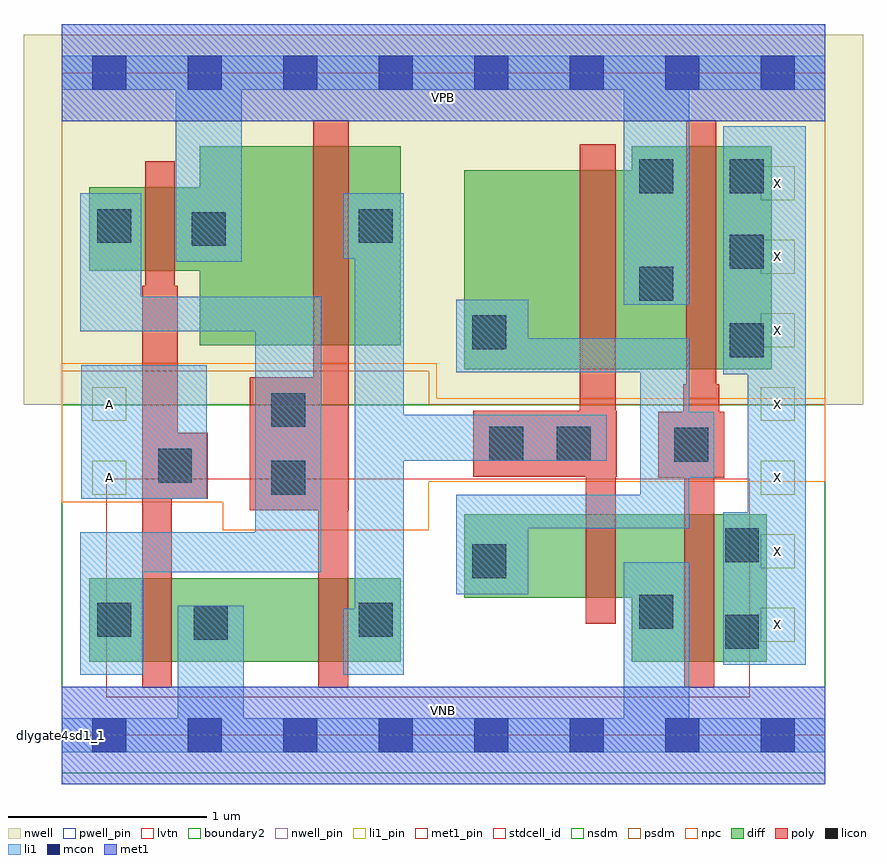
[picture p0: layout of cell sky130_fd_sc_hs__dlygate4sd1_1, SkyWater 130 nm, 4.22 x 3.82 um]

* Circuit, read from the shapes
.subckt sky130_fd_sc_hs__dlygate4sd1_1 A VGND VNB VPB VPWR X
XM1 VGND A n1 VNB sky130_fd_pr__nfet_01v8_lvt w=0.42 l=0.15
XM2 n2 n1 VGND VNB sky130_fd_pr__nfet_01v8_lvt w=0.42 l=0.15
XM3 VGND n2 n3 VNB sky130_fd_pr__nfet_01v8_lvt w=0.42 l=0.15
XM4 X n3 VGND VNB sky130_fd_pr__nfet_01v8_lvt w=0.74 l=0.15
XM5 VPWR A n1 VPB sky130_fd_pr__pfet_01v8 w=0.42 l=0.15
XM6 n2 n1 VPWR VPB sky130_fd_pr__pfet_01v8 w=1 l=0.18
XM7 VPWR n2 n3 VPB sky130_fd_pr__pfet_01v8 w=1 l=0.18
XM8 X n3 VPWR VPB sky130_fd_pr__pfet_01v8 w=1.12 l=0.15
.ends

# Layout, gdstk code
import gdstk
lib = gdstk.Library(unit=1e-6, precision=1e-09)
def R(c, l, rs):  # rectangles x0, y0, x1, y1
    for r in rs: c.add(gdstk.rectangle(r[:2], r[2:], *l))
def A(c, l, x, y, w, h, nx, ny, dx, dy):  # array of equal rectangles
    R(c, l, [(x+i*dx, y+j*dy, x+i*dx+w, y+j*dy+h) for i in range(nx) for j in range(ny)])
def P(c, l, *ps):  # polygons
    for p in ps: c.add(gdstk.Polygon(p, *l))
nwell_pin = (64, 16)
nwell = (64, 20)
diff = (65, 20)
poly = (66, 20)
licon = (66, 44)
li1_pin = (67, 16)
li1 = (67, 20)
mcon = (67, 44)
met1_pin = (68, 16)
met1 = (68, 20)
stdcell_id = (81, 4)
nsdm = (93, 44)
psdm = (94, 20)
npc = (95, 20)
pwell_pin = (122, 16)
lvtn = (125, 44)
boundary2 = (236, 0)

sky130_fd_sc_hs__dlygate = lib.new_cell('sky130_fd_sc_hs__dlygate4sd1_1')
R(sky130_fd_sc_hs__dlygate, nwell_pin, [(0,3.085,3.84,3.33)])
R(sky130_fd_sc_hs__dlygate, nwell, [(-0.19,1.66,4.03,3.52)])
R(sky130_fd_sc_hs__dlygate, diff, [(0.14,0.37,1.705,0.79)])
P(sky130_fd_sc_hs__dlygate, diff, [(1.705,2.96),(0.695,2.96),(0.695,2.755),(0.14,2.755),(0.14,2.335),(0.695,2.335),(0.695,1.96),(1.705,1.96)],
  [(3.57,2.96),(2.865,2.96),(2.865,2.84),(2.025,2.84),(2.025,1.84),(3.57,1.84)],
  [(3.545,1.11),(2.025,1.11),(2.025,0.69),(2.865,0.69),(2.865,0.37),(3.545,0.37)])
P(sky130_fd_sc_hs__dlygate, poly, [(0.735,1.52),(0.585,1.52),(0.585,2.26),(0.57,2.26),(0.57,2.885),(0.42,2.885),(0.42,2.26),(0.405,2.26),(0.405,0.24),(0.555,0.24),(0.555,1.19),(0.735,1.19)],
  [(1.445,3.09),(1.265,3.09),(1.265,1.8),(0.945,1.8),(0.945,1.13),(1.29,1.13),(1.29,0.24),(1.44,0.24),(1.44,1.13),(1.445,1.13)],
  [(2.79,1.63),(2.785,1.63),(2.785,2.97),(2.605,2.97),(2.605,1.63),(2.07,1.63),(2.07,1.3),(2.635,1.3),(2.635,0.56),(2.785,0.56),(2.785,1.3),(2.79,1.3)],
  [(3.33,1.625),(3.305,1.625),(3.305,1.765),(3.29,1.765),(3.29,3.09),(3.14,3.09),(3.14,1.765),(3.125,1.765),(3.125,1.625),(3,1.625),(3,1.295),(3.13,1.295),(3.13,0.24),(3.28,0.24),(3.28,1.295),(3.33,1.295)])
R(sky130_fd_sc_hs__dlygate, licon, [(3.335,0.435,3.505,0.605), (0.665,0.48,0.835,0.65), (0.18,0.495,0.35,0.665), (1.495,0.495,1.665,0.665), (2.905,0.535,3.075,0.705), (2.065,0.79,2.235,0.96), (3.335,0.87,3.505,1.04), (1.055,1.21,1.225,1.38), (0.485,1.27,0.655,1.44), (3.08,1.375,3.25,1.545), (2.15,1.38,2.32,1.55), (2.49,1.38,2.66,1.55), (1.055,1.55,1.225,1.72), (3.36,1.9,3.53,2.07), (2.065,1.94,2.235,2.11), (2.905,2.185,3.075,2.355), (3.36,2.345,3.53,2.515), (0.655,2.46,0.825,2.63), (0.18,2.475,0.35,2.645), (1.495,2.475,1.665,2.645), (2.905,2.725,3.075,2.895), (3.36,2.725,3.53,2.895)])
A(sky130_fd_sc_hs__dlygate, li1_pin, 3.515, 0.47, 0.17, 0.17, 1, 7, 0, 0.37)
R(sky130_fd_sc_hs__dlygate, li1_pin, [(0.155,1.21,0.325,1.38), (0.155,1.58,0.325,1.75)])
R(sky130_fd_sc_hs__dlygate, li1, [(0.1,1.19,0.73,1.86)])
P(sky130_fd_sc_hs__dlygate, li1, [(1.305,2.205),(0.4,2.205),(0.4,2.725),(0.095,2.725),(0.095,2.03),(0.975,2.03),(0.975,1.02),(0.095,1.02),(0.095,0.305),(0.41,0.305),(0.41,0.82),(1.305,0.82)],
  [(2.74,1.61),(1.72,1.61),(1.72,2.725),(1.415,2.725),(1.415,2.395),(1.475,2.395),(1.475,0.635),(1.415,0.635),(1.415,0.305),(1.72,0.305),(1.72,1.38),(2.74,1.38)],
  [(3.28,1.625),(3.155,1.625),(3.155,1.995),(2.345,1.995),(2.345,2.19),(1.985,2.19),(1.985,1.825),(2.91,1.825),(2.91,1.21),(1.985,1.21),(1.985,0.71),(2.345,0.71),(2.345,1.04),(3.155,1.04),(3.155,1.295),(3.28,1.295)],
  [(3.84,3.415),(0,3.415),(0,3.245),(0.575,3.245),(0.575,2.38),(0.905,2.38),(0.905,3.245),(2.825,3.245),(2.825,2.165),(3.155,2.165),(3.155,3.245),(3.84,3.245)],
  [(3.84,0.085),(3.155,0.085),(3.155,0.87),(2.825,0.87),(2.825,0.085),(0.915,0.085),(0.915,0.65),(0.585,0.65),(0.585,0.085),(0,0.085),(0,-0.085),(3.84,-0.085)],
  [(3.74,3.06),(3.325,3.06),(3.325,1.815),(3.45,1.815),(3.45,1.12),(3.325,1.12),(3.325,0.355),(3.74,0.355)])
A(sky130_fd_sc_hs__dlygate, mcon, 0.155, -0.085, 0.17, 0.17, 8, 2, 0.48, 3.33)
R(sky130_fd_sc_hs__dlygate, met1_pin, [(0,0,3.84,0.245), (0,3.085,3.84,3.33)])
R(sky130_fd_sc_hs__dlygate, met1, [(0,-0.245,3.84,0.245), (0,3.085,3.84,3.575)])
R(sky130_fd_sc_hs__dlygate, stdcell_id, [(0,0,3.84,3.33)])
R(sky130_fd_sc_hs__dlygate, nsdm, [(0,-0.19,3.84,1.66)])
P(sky130_fd_sc_hs__dlygate, psdm, [(3.84,3.52),(0,3.52),(0,1.83),(1.845,1.83),(1.845,1.66),(3.84,1.66)])
P(sky130_fd_sc_hs__dlygate, npc, [(3.84,1.695),(1.885,1.695),(1.885,1.87),(0,1.87),(0,1.17),(0.81,1.17),(0.81,1.03),(1.845,1.03),(1.845,1.275),(3.84,1.275)])
R(sky130_fd_sc_hs__dlygate, pwell_pin, [(0,0,3.84,0.245)])
R(sky130_fd_sc_hs__dlygate, lvtn, [(0.225,0.19,3.46,1.29)])
R(sky130_fd_sc_hs__dlygate, boundary2, [(0,0,3.84,3.33)])
sky130_fd_sc_hs__dlygate.add(gdstk.Label('dlygate4sd1_1', (0,0), layer=83, texttype=44))
sky130_fd_sc_hs__dlygate.add(gdstk.Label('VNB', (1.92,0.123), layer=64, texttype=59))
sky130_fd_sc_hs__dlygate.add(gdstk.Label('VPB', (1.92,3.208), layer=64, texttype=5))
sky130_fd_sc_hs__dlygate.add(gdstk.Label('VGND', (1.92,0.123), layer=68, texttype=5))
sky130_fd_sc_hs__dlygate.add(gdstk.Label('VPWR', (1.92,3.208), layer=68, texttype=5))
sky130_fd_sc_hs__dlygate.add(gdstk.Label('A', (0.24,1.295), layer=67, texttype=5))
sky130_fd_sc_hs__dlygate.add(gdstk.Label('A', (0.24,1.665), layer=67, texttype=5))
sky130_fd_sc_hs__dlygate.add(gdstk.Label('X', (3.6,1.665), layer=67, texttype=5))
sky130_fd_sc_hs__dlygate.add(gdstk.Label('X', (3.6,2.405), layer=67, texttype=5))
sky130_fd_sc_hs__dlygate.add(gdstk.Label('X', (3.6,2.035), layer=67, texttype=5))
sky130_fd_sc_hs__dlygate.add(gdstk.Label('X', (3.6,0.925), layer=67, texttype=5))
sky130_fd_sc_hs__dlygate.add(gdstk.Label('X', (3.6,0.555), layer=67, texttype=5))
sky130_fd_sc_hs__dlygate.add(gdstk.Label('X', (3.6,1.295), layer=67, texttype=5))
sky130_fd_sc_hs__dlygate.add(gdstk.Label('X', (3.6,2.775), layer=67, texttype=5))

lib.write_gds('sky130_fd_sc_hs__dlygate4sd1_1.gds')
